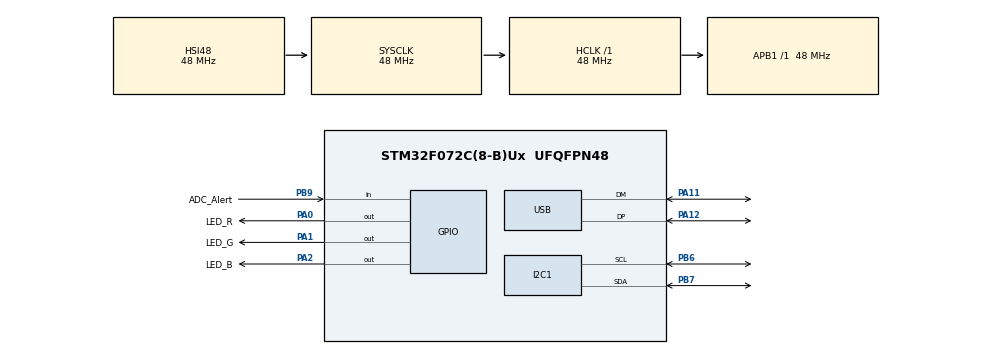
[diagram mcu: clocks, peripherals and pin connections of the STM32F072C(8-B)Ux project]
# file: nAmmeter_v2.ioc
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Mcu.Family=STM32F0
Mcu.Name=STM32F072C(8-B)Ux
Mcu.Package=UFQFPN48
NVIC.USB_IRQn=true\:0\:0\:false\:false\:true\:false\:true
PA0.GPIO_Label=LED_R
PA0.Signal=GPIO_Output
PA1.GPIO_Label=LED_G
PA1.Signal=GPIO_Output
PA11.Mode=Device
PA11.Signal=USB_DM
PA12.Mode=Device
PA12.Signal=USB_DP
PA2.GPIO_Label=LED_B
PA2.Signal=GPIO_Output
PB6.Mode=I2C
PB6.Signal=I2C1_SCL
PB7.Mode=I2C
PB7.Signal=I2C1_SDA
PB9.GPIO_Label=ADC_Alert
PB9.Signal=GPIO_Input
ProjectManager.HeapSize=0x200
ProjectManager.StackSize=0x400
ProjectManager.TargetToolchain=STM32CubeIDE
RCC.AHBFreq_Value=48000000
RCC.APB1Freq_Value=48000000
RCC.APB1TimFreq_Value=48000000
RCC.HCLKFreq_Value=48000000
RCC.SYSCLKFreq_VALUE=48000000
RCC.SYSCLKSource=RCC_SYSCLKSOURCE_HSI48
USB_DEVICE.CLASS_NAME_FS=CDC
USB_DEVICE.VirtualMode=Cdc
USB_DEVICE.VirtualModeFS=Cdc_FS
VP_USB_DEVICE_VS_USB_DEVICE_CDC_FS.Mode=CDC_FS
board=custom

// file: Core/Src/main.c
/* USER CODE BEGIN Header */
/*
 * nanoAmmeter version 2
 *
 * Joel Troughton 2021
 * working at the KAUST Solar Center
 *
 * Credit to Phil Salmony (philsal.co.uk) for the FIR code
 */

/* USER CODE END Header */
#include "main.h"
#include "usb_device.h"

/* USER CODE BEGIN Includes */
#include "usbd_cdc_if.h"
#include "stdbool.h"
#include "FIRFilter.h"
/* USER CODE END Includes */

/* USER CODE BEGIN PTD */
#define ADS1115_ADDRESS 0x48 // I2C addresses of ADC
/* USER CODE END PTD */

I2C_HandleTypeDef hi2c1;

/* USER CODE BEGIN PV */
extern USBD_HandleTypeDef hUsbDeviceFS;

uint8_t UserRxBuffer[2048];
bool usbMessageReceived = false;

bool streaming_data_requested = false;

float amp_gain = 101;
float shunt_resistance = 100000;

// FIR filters for both voltage and current
FIRFilter lpfcurr;
FIRFilter lpfvolt;

/* USER CODE END PV */

void SystemClock_Config(void);
static void MX_GPIO_Init(void);
static void MX_I2C1_Init(void);

/* USER CODE BEGIN 0 */

// Initialise the ADS1115 at boot. Sets the comparator to toggle the alert pin
// when a measurement is completed
void adc_init()
{
	uint8_t conversion_reg = 0x00;
	uint8_t config_reg = 0x01;
	uint8_t lothresh_reg = 0x02;
	uint8_t hithresh_reg = 0x03;

	unsigned char ADSwrite[6];

	ADSwrite[0] = hithresh_reg;
	ADSwrite[1] = 0x80;
	ADSwrite[2] = 0x00;
	HAL_I2C_Master_Transmit(&hi2c1, ADS1115_ADDRESS << 1, ADSwrite, 3, 100);

	ADSwrite[0] = lothresh_reg;
	ADSwrite[1] = 0x7F;
	ADSwrite[2] = 0xFF;
	HAL_I2C_Master_Transmit(&hi2c1, ADS1115_ADDRESS << 1, ADSwrite, 3, 100);
}

/* Make a single-ended ADC measurement. Fixed at 128sps, 4.096V FSR
 *
 * For ADC registers:
 * https://www.ti.com/lit/ds/symlink/ads1115.pdf
 */
uint16_t adc_read_singleended(uint8_t channel)
{
	uint8_t conversion_reg = 0x00;
	uint8_t config_reg = 0x01;
	uint8_t lothresh_reg = 0x02;
	uint8_t hithresh_reg = 0x03;

	unsigned char ADSwrite[6];
	int16_t reading;

	switch (channel)
	{
	case 0:
		ADSwrite[1] = 0xC3;
		break;
	case 1:
		ADSwrite[1] = 0xD3;
		break;
	case 2:
		ADSwrite[1] = 0xE3;
		break;
	case 3:
		ADSwrite[1] = 0xF3;
		break;
	}

	HAL_GPIO_WritePin(GPIOA, LED_R_Pin, GPIO_PIN_SET);
	HAL_GPIO_WritePin(GPIOA, LED_G_Pin, GPIO_PIN_SET);
	HAL_GPIO_WritePin(GPIOA, LED_B_Pin, GPIO_PIN_SET);

	ADSwrite[0] = config_reg;
	ADSwrite[2] = 0b10001000; // For Alert pin, set COMP_QUE to anything but 11. Active low

	HAL_I2C_Master_Transmit(&hi2c1, ADS1115_ADDRESS << 1, ADSwrite, 3, 100);

	// Wait for ADC_Alert pin to go high, indicating the measurement is complete
	while (HAL_GPIO_ReadPin(ADC_Alert_GPIO_Port, ADC_Alert_Pin) == 0)
	{
		HAL_GPIO_WritePin(GPIOA, LED_B_Pin, GPIO_PIN_RESET);
	}

	HAL_GPIO_WritePin(GPIOA, LED_B_Pin, GPIO_PIN_SET);

	ADSwrite[0] = conversion_reg;

	HAL_I2C_Master_Transmit(&hi2c1, ADS1115_ADDRESS << 1, ADSwrite, 1, 100);

	HAL_I2C_Master_Receive(&hi2c1, ADS1115_ADDRESS << 1, ADSwrite, 2, 100);
	reading = (ADSwrite[0] << 8 | ADSwrite[1]);
	if (reading < 0) // Shouldn't be any -ve values
	{
		reading = 0;
	}
	return reading;
}

void single_shot()
{
	//uint16_t v_measure = adc_read_singleended(1);
	//uint16_t i_measure = adc_read_singleended(0);

	//float voltage = (v_measure * 0.125);
	//float current = (i_measure * 0.125) / amp_gain / 0.1;

	float voltage_running = 0;
	float current_running = 0;

	for (int i = 0; i < num_oversamples; i++)
	{
		uint16_t v_measure = adc_read_singleended(1);
		uint16_t i_measure = adc_read_singleended(0);

		/*		float voltage = (v_measure * 0.000625) - 8.190538;
		 float current = (i_measure * 0.125 / 1000) / shunt_resistance
		 / i_amp_gain;
		 current = current + ((3.44E-5 * voltage) - 7.35E-5);*/

		/*		float voltage = v_measure * 0.125;
		 voltage = voltage / 1000;
		 voltage = voltage * 3.9947;
		 voltage = voltage - 6.1312;*/

		float voltage = v_measure * 0.125;
		float current = (i_measure * 0.125) / amp_gain / 0.1;

		voltage_running += voltage;
		current_running += current;
	}

	voltage_running /= num_oversamples;
	current_running /= num_oversamples;

	char vmsg[32];
	char imsg[32];

	memset(vmsg, 0, sizeof(vmsg));
	memset(imsg, 0, sizeof(imsg));

	sprintf(vmsg, "%4.3f", voltage_running);
	sprintf(imsg, "%4.3f", current_running);

	strcat(vmsg, ",");
	strcat(vmsg, imsg);

	strcat(vmsg, "\n");
	CDC_Transmit_FS(vmsg, sizeof(vmsg));
}

/* When the measurement is first started, the output creeps up
 * until the buffer is full. This fills the buffer up before
 * outputting any messages over USB
 */
void fill_fir_buffer()
{
	uint8_t filter_length = FIRFilter_FilterLength(&lpfcurr);

	for (uint8_t n = 0; n <= filter_length; n++)
	{
		uint16_t v_measure = adc_read_singleended(1);
		float voltage = v_measure * 0.125;

		uint16_t i_measure = adc_read_singleended(0);
		float current = (i_measure * 0.125) / amp_gain / 0.1;

		FIRFilter_Update(&lpfvolt, voltage);
		FIRFilter_Update(&lpfcurr, current);
	}
}

// Start outputting data
void run_fir()
{
	uint16_t v_measure = adc_read_singleended(1);
	float voltage = v_measure * 0.125;

	uint16_t i_measure = adc_read_singleended(0);
	float current = (i_measure * 0.125) / amp_gain / 0.1;

	FIRFilter_Update(&lpfvolt, voltage);
	FIRFilter_Update(&lpfcurr, current);

	char vmsg[32];
	char imsg[32];

	memset(vmsg, 0, sizeof(vmsg));
	memset(imsg, 0, sizeof(imsg));

	sprintf(vmsg, "%4.3f", lpfvolt.out);
	sprintf(imsg, "%4.3f", lpfcurr.out);

	strcat(vmsg, ",");
	strcat(vmsg, imsg);

	strcat(vmsg, "\n");
	CDC_Transmit_FS(vmsg, sizeof(vmsg));

}
/* USER CODE END 0 */

int main(void)
{

	/* MCU Configuration--------------------------------------------------------*/

	/* Reset of all peripherals, Initializes the Flash interface and the Systick. */
	HAL_Init();

	/* Configure the system clock */
	SystemClock_Config();

	/* Initialize all configured peripherals */
	MX_GPIO_Init();
	MX_I2C1_Init();
	MX_USB_DEVICE_Init();
	/* USER CODE BEGIN 2 */

	adc_init();
	FIRFilter_Init(&lpfcurr);
	FIRFilter_Init(&lpfvolt);

	/* USER CODE END 2 */

	/* Infinite loop */
	while (1)
	{

		HAL_GPIO_WritePin(GPIOA, LED_R_Pin, GPIO_PIN_SET);
		HAL_GPIO_WritePin(GPIOA, LED_G_Pin, GPIO_PIN_RESET);
		HAL_GPIO_WritePin(GPIOA, LED_B_Pin, GPIO_PIN_SET);

		if (streaming_data_requested)
		{
			run_fir();
		}

		if (usbMessageReceived == true)
		{

			char chRxBuffer[2048];

			// Take the uint8_t buffer and turn it into a char array to parse
			for (int i = 0; i <= 2048; i++)
			{
				chRxBuffer[i] = UserRxBuffer[i];
			}

			usbMessageReceived = false; // Wait untill we have read the incoming message

			char singleshotSearch[] = "single"; 	// Take a single shot
			char startSearch[] = "start"; 			// Begin continuous measurements
			char stopSearch[] = "stop";				// Stop continuous measurements

			char *singleshotPtr = strstr(chRxBuffer, singleshotSearch);
			char *startPtr = strstr(chRxBuffer, startSearch);
			char *stopPtr = strstr(chRxBuffer, stopSearch);

			if (singleshotPtr != NULL)
			{
				run_fir();
			}
			else if (startPtr != NULL)
			{
				streaming_data_requested = true;
				fill_fir_buffer();

			}
			else if (stopPtr != NULL) // Do a little stop light blink
			{
				streaming_data_requested = false;

				HAL_GPIO_WritePin(GPIOA, LED_R_Pin, GPIO_PIN_RESET);
				HAL_GPIO_WritePin(GPIOA, LED_G_Pin, GPIO_PIN_SET);
				HAL_GPIO_WritePin(GPIOA, LED_B_Pin, GPIO_PIN_SET);

				HAL_Delay(100);

				HAL_GPIO_WritePin(GPIOA, LED_R_Pin, GPIO_PIN_SET);
				HAL_GPIO_WritePin(GPIOA, LED_G_Pin, GPIO_PIN_SET);
				HAL_GPIO_WritePin(GPIOA, LED_B_Pin, GPIO_PIN_SET);

				HAL_Delay(50);

				HAL_GPIO_WritePin(GPIOA, LED_R_Pin, GPIO_PIN_RESET);
				HAL_GPIO_WritePin(GPIOA, LED_G_Pin, GPIO_PIN_SET);
				HAL_GPIO_WritePin(GPIOA, LED_B_Pin, GPIO_PIN_SET);

				HAL_Delay(100);

				HAL_GPIO_WritePin(GPIOA, LED_R_Pin, GPIO_PIN_SET);
				HAL_GPIO_WritePin(GPIOA, LED_G_Pin, GPIO_PIN_SET);
				HAL_GPIO_WritePin(GPIOA, LED_B_Pin, GPIO_PIN_SET);

				HAL_Delay(100);

				HAL_GPIO_WritePin(GPIOA, LED_R_Pin, GPIO_PIN_SET);
				HAL_GPIO_WritePin(GPIOA, LED_G_Pin, GPIO_PIN_RESET);
				HAL_GPIO_WritePin(GPIOA, LED_B_Pin, GPIO_PIN_SET);

			}
			else
			{
				char msg[1024] = "Input not understood";
				strcat(msg, "\n");
				CDC_Transmit_FS(msg, sizeof(msg));
			}
		}
	}
}

void SystemClock_Config(void)
{
	RCC_OscInitTypeDef RCC_OscInitStruct =
	{ 0 };
	RCC_ClkInitTypeDef RCC_ClkInitStruct =
	{ 0 };
	RCC_PeriphCLKInitTypeDef PeriphClkInit =
	{ 0 };

	/** Initializes the RCC Oscillators according to the specified parameters
	 * in the RCC_OscInitTypeDef structure.
	 */
	RCC_OscInitStruct.OscillatorType = RCC_OSCILLATORTYPE_HSI
			| RCC_OSCILLATORTYPE_HSI48;
	RCC_OscInitStruct.HSIState = RCC_HSI_ON;
	RCC_OscInitStruct.HSI48State = RCC_HSI48_ON;
	RCC_OscInitStruct.HSICalibrationValue = RCC_HSICALIBRATION_DEFAULT;
	RCC_OscInitStruct.PLL.PLLState = RCC_PLL_NONE;
	if (HAL_RCC_OscConfig(&RCC_OscInitStruct) != HAL_OK)
	{
		Error_Handler();
	}
	/** Initializes the CPU, AHB and APB buses clocks
	 */
	RCC_ClkInitStruct.ClockType = RCC_CLOCKTYPE_HCLK | RCC_CLOCKTYPE_SYSCLK
			| RCC_CLOCKTYPE_PCLK1;
	RCC_ClkInitStruct.SYSCLKSource = RCC_SYSCLKSOURCE_HSI48;
	RCC_ClkInitStruct.AHBCLKDivider = RCC_SYSCLK_DIV1;
	RCC_ClkInitStruct.APB1CLKDivider = RCC_HCLK_DIV1;

	if (HAL_RCC_ClockConfig(&RCC_ClkInitStruct, FLASH_LATENCY_1) != HAL_OK)
	{
		Error_Handler();
	}
	PeriphClkInit.PeriphClockSelection = RCC_PERIPHCLK_USB | RCC_PERIPHCLK_I2C1;
	PeriphClkInit.I2c1ClockSelection = RCC_I2C1CLKSOURCE_HSI;
	PeriphClkInit.UsbClockSelection = RCC_USBCLKSOURCE_HSI48;

	if (HAL_RCCEx_PeriphCLKConfig(&PeriphClkInit) != HAL_OK)
	{
		Error_Handler();
	}
}

static void MX_I2C1_Init(void)
{

	hi2c1.Instance = I2C1;
	hi2c1.Init.Timing = 0x2000090E;
	hi2c1.Init.OwnAddress1 = 0;
	hi2c1.Init.AddressingMode = I2C_ADDRESSINGMODE_7BIT;
	hi2c1.Init.DualAddressMode = I2C_DUALADDRESS_DISABLE;
	hi2c1.Init.OwnAddress2 = 0;
	hi2c1.Init.OwnAddress2Masks = I2C_OA2_NOMASK;
	hi2c1.Init.GeneralCallMode = I2C_GENERALCALL_DISABLE;
	hi2c1.Init.NoStretchMode = I2C_NOSTRETCH_DISABLE;
	if (HAL_I2C_Init(&hi2c1) != HAL_OK)
	{
		Error_Handler();
	}
	/** Configure Analogue filter
	 */
	if (HAL_I2CEx_ConfigAnalogFilter(&hi2c1, I2C_ANALOGFILTER_ENABLE) != HAL_OK)
	{
		Error_Handler();
	}
	/** Configure Digital filter
	 */
	if (HAL_I2CEx_ConfigDigitalFilter(&hi2c1, 0) != HAL_OK)
	{
		Error_Handler();
	}

}

static void MX_GPIO_Init(void)
{
	GPIO_InitTypeDef GPIO_InitStruct =
	{ 0 };

	/* GPIO Ports Clock Enable */
	__HAL_RCC_GPIOA_CLK_ENABLE();
	__HAL_RCC_GPIOB_CLK_ENABLE();

	/*Configure GPIO pin Output Level */
	HAL_GPIO_WritePin(GPIOA, LED_R_Pin | LED_G_Pin | LED_B_Pin, GPIO_PIN_RESET);

	/*Configure GPIO pins : LED_R_Pin LED_G_Pin LED_B_Pin */
	GPIO_InitStruct.Pin = LED_R_Pin | LED_G_Pin | LED_B_Pin;
	GPIO_InitStruct.Mode = GPIO_MODE_OUTPUT_PP;
	GPIO_InitStruct.Pull = GPIO_NOPULL;
	GPIO_InitStruct.Speed = GPIO_SPEED_FREQ_LOW;
	HAL_GPIO_Init(GPIOA, &GPIO_InitStruct);

	/*Configure GPIO pin : ADC_Alert_Pin */
	GPIO_InitStruct.Pin = ADC_Alert_Pin;
	GPIO_InitStruct.Mode = GPIO_MODE_INPUT;
	GPIO_InitStruct.Pull = GPIO_NOPULL;
	HAL_GPIO_Init(ADC_Alert_GPIO_Port, &GPIO_InitStruct);

}

void Error_Handler(void)
{
}

/************************ (C) COPYRIGHT STMicroelectronics *****END OF FILE****/
